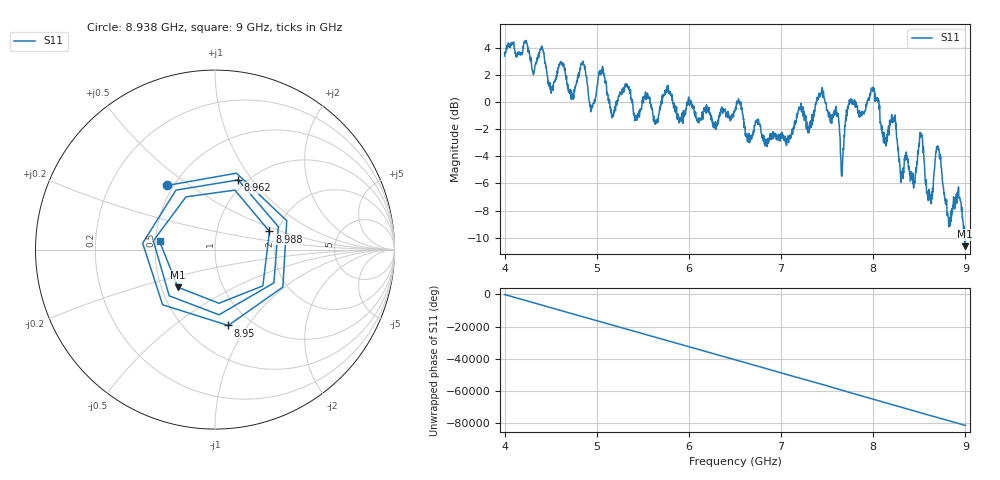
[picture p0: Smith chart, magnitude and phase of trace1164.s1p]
! Created with skrf 1.8.0 (http://scikit-rf.org).
# Hz S RI R 50.0
!freq ReS11 ImS11
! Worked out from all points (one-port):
!   1601 points, 4 GHz to 9 GHz, reference 50 ohm
!   lowest |S11| = -10.6 dB at 8.997 GHz (marker M1), VSWR 1.84, Z = 30.4 - j14 ohm
!   |S11| at or under -10 dB: 8.992536 GHz to end of sweep
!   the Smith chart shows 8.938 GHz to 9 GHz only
!   S11 on the Smith chart (normalised r, x): 8.938 GHz: 0.46, +0.41; 8.95 GHz: 0.79, -0.82; 8.962 GHz: 0.92, +0.86; 8.988 GHz: 1.81, +0.41; 9 GHz: 0.53, +0.05
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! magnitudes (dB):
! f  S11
! 4 GHz  3.4
! 4.503 GHz  0.9
! 4.625 GHz  2.8
! 4.728 GHz  0.5
! 4.853 GHz  2.9
! 4.941 GHz  -0.6
! 5.047 GHz  2.2
! 5.166 GHz  -1.2
! 5.25 GHz  0.7
! 5.875 GHz  -1.3
! 6.5 GHz  -0.7
! 7.125 GHz  -2.4
! 7.438 GHz  0.7
! 7.662 GHz  -5.3
! 7.75 GHz  -0.1
! 8 GHz  1.1
! 8.375 GHz  -4.4
! 8.444 GHz  -5.9
! 8.522 GHz  -2.3
! 8.616 GHz  -7.0
! 8.706 GHz  -3.5
! 8.825 GHz  -8.7
! 8.938 GHz  -7.0
! 8.95 GHz  -7.4
! 8.962 GHz  -7.8
! 8.988 GHz  -9.9
! 8.997 GHz  -10.6
! 9 GHz  -10.1
